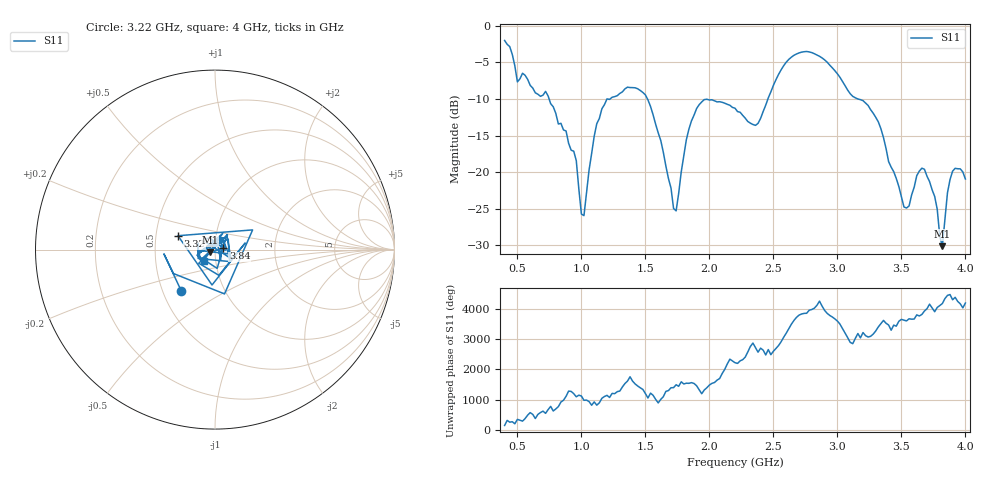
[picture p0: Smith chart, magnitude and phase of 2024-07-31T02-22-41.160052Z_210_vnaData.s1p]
!Created with skrf (http://scikit-rf.org).
# Hz S RI R 50.0
!freq ReS11 ImS11
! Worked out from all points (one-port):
!   181 points, 400 MHz to 4 GHz, reference 50 ohm
!   lowest |S11| = -30.1 dB at 3.82 GHz (marker M1), VSWR 1.06, Z = 47.3 - j1.35 ohm
!   |S11| at or under -10 dB: 747.8 MHz to 1.2 GHz (451.8 MHz wide, 46.4 % of centre); 1.516 GHz to 2.457 GHz (940.7 MHz wide, 47.3 % of centre); 3.161 GHz to end of sweep (the widest 3 of 4)
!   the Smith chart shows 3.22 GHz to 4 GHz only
!   S11 on the Smith chart (normalised r, x): 3.22 GHz: 0.62, -0.31; 3.32 GHz: 0.65, +0.11; 3.84 GHz: 1.10, +0.02; 4 GHz: 0.87, -0.11
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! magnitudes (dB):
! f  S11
! 400 MHz  -2.0
! 500 MHz  -7.7
! 720 MHz  -9.0
! 860 MHz  -14.2
! 960 MHz  -18.4
! 1 GHz  -25.8
! 1.02 GHz  -26.0
! 1.12 GHz  -13.4
! 1.3 GHz  -9.2
! 1.5 GHz  -9.4
! 1.72 GHz  -25.0
! 1.76 GHz  -22.9
! 1.82 GHz  -15.6
! 1.92 GHz  -10.8
! 2.2 GHz  -11.3
! 2.38 GHz  -13.3
! 2.66 GHz  -4.0
! 2.88 GHz  -4.4
! 3.1 GHz  -9.3
! 3.22 GHz  -10.6
! 3.32 GHz  -13.1
! 3.56 GHz  -24.6
! 3.68 GHz  -19.6
! 3.76 GHz  -23.3
! 3.82 GHz  -30.1
! 3.84 GHz  -26.5
! 3.9 GHz  -19.9
! 4 GHz  -21.0
